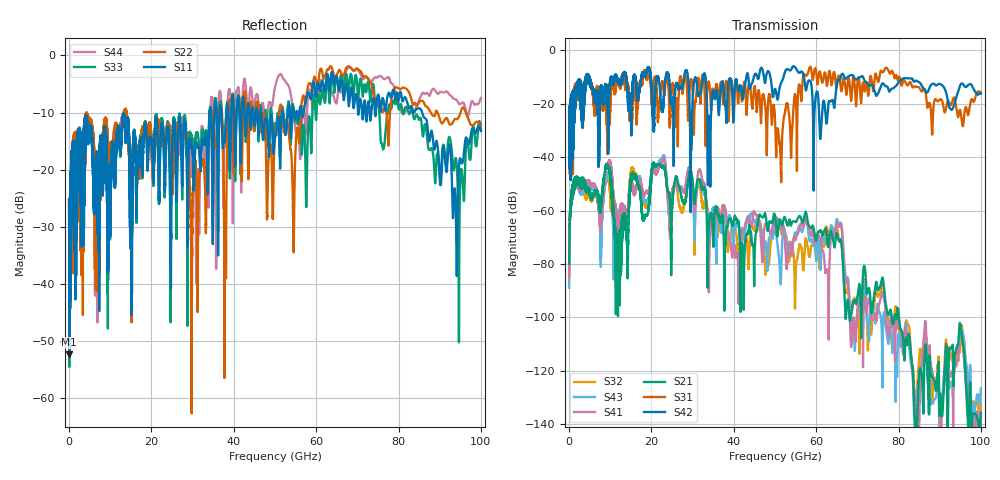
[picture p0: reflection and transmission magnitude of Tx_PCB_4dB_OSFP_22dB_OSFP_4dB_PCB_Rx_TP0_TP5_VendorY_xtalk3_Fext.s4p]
! Info: Touchstone file created by Circ.  Input file=Tx_PCB_4dB_OSFP_22dB_OSFP_4dB_PCB_Rx_TP0_TP5_VendorY.circ
# Hz S RI R 50
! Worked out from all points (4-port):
!   10000 points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, 10 MHz to 100 GHz, reference 50 ohm
!   strongest paths, dB at 10 MHz, 25.01 GHz, 50.01 GHz, 75.01 GHz, 100 GHz:
!     S42: -25.1, -19.1, -14.5, -16.2, -16.2
!     S31: -25.1, -12.9, -25.3, -11.7, -15.7
!     S21: -79.9, -58.6, -61.7, -89.7, -135.8
!     S41: -85.3, -53.1, -65.1, -97.0, -134.8
!     S43: -88.9, -54.7, -66.8, -95.9, -126.6
!     S32: -86.3, -53.1, -68.8, -92.2, -132.3
!   lowest |S11| = -52.3 dB at 40 MHz (marker M1), VSWR 1.00, Z = 49.8 + j0.158 ohm
!   |S11| at or under -10 dB: start of sweep to 34.16 GHz; 46.67 GHz to 51.69 GHz (5.015 GHz wide, 10.2 % of centre); 85.75 GHz to end of sweep (the widest 3 of 24)
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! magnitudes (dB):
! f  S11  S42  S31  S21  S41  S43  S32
! 10 MHz  -25.2  -25.1  -25.1  -79.9  -85.3  -88.9  -86.3
! 40 MHz  -52.3  -30.7  -31.1  -74.8  -75.6  -74.9  -75.3
! 22.76 GHz  -12.7  -22.1  -12.0  -43.6  -41.2  -39.8  -40.9
! 40.88 GHz  -8.1  -13.5  -16.3  -63.8  -75.9  -65.1  -75.2
! 51.31 GHz  -18.3  -12.9  -37.9  -63.5  -66.5  -86.3  -65.7
! 58.43 GHz  -7.1  -11.3  -6.4  -66.1  -67.6  -71.5  -77.2
! 100 GHz  -13.2  -16.2  -15.7  -135.8  -134.8  -126.6  -132.3
